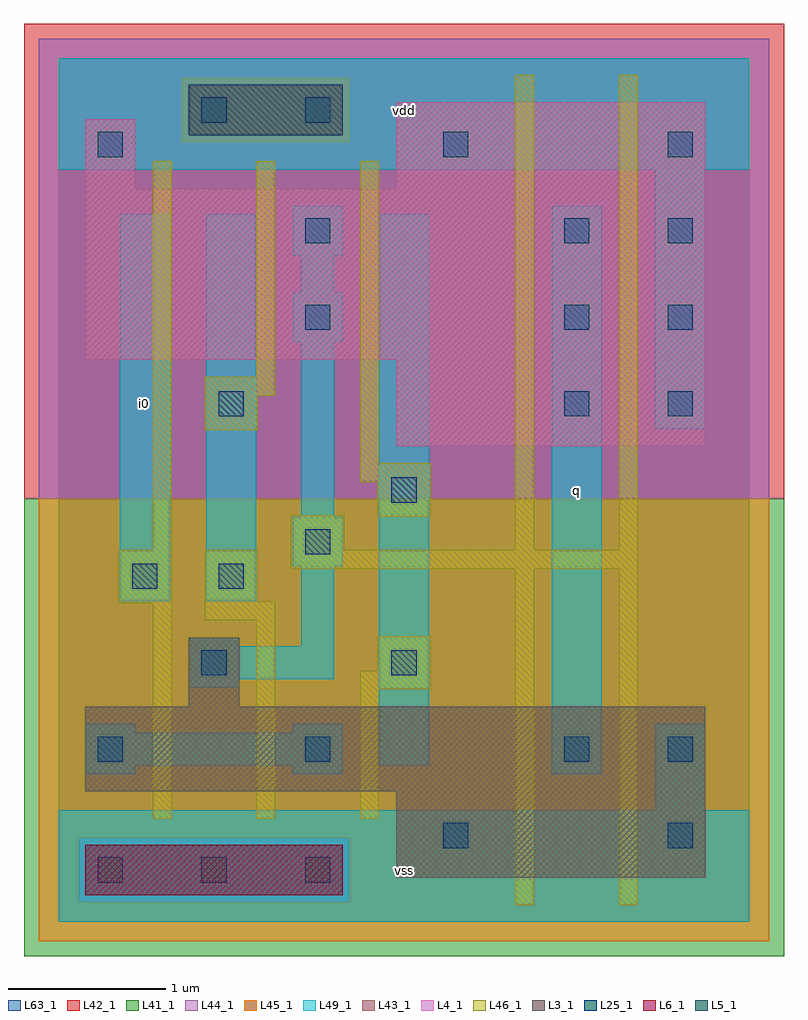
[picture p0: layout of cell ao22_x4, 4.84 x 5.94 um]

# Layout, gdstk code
import gdstk
lib = gdstk.Library(unit=1e-6, precision=1e-09)
def R(c, l, rs):  # rectangles x0, y0, x1, y1
    for r in rs: c.add(gdstk.rectangle(r[:2], r[2:], *l))
def A(c, l, x, y, w, h, nx, ny, dx, dy):  # array of equal rectangles
    R(c, l, [(x+i*dx, y+j*dy, x+i*dx+w, y+j*dy+h) for i in range(nx) for j in range(ny)])
L3_1 = (3, 1)
L4_1 = (4, 1)
L5_1 = (5, 1)
L6_1 = (6, 1)
L25_1 = (25, 1)
L41_1 = (41, 1)
L42_1 = (42, 1)
L43_1 = (43, 1)
L44_1 = (44, 1)
L45_1 = (45, 1)
L46_1 = (46, 1)
L49_1 = (49, 1)
L63_1 = (63, 1)

ao22_x4 = lib.new_cell('ao22_x4')
R(ao22_x4, L3_1, [(2.15,0.28,4.12,0.83), (0.17,0.83,4.12,1.37), (0.83,1.37,1.15,1.81)])
R(ao22_x4, L4_1, [(2.15,3.03,4.12,3.58), (0.17,3.58,4.12,4.67), (0.17,4.67,0.49,5.11), (2.15,4.67,4.12,5.22)])
R(ao22_x4, L5_1, [(0.83,5.01,1.81,5.33)])
R(ao22_x4, L6_1, [(0.17,0.17,1.81,0.49)])
A(ao22_x4, L25_1, 0.25, 0.25, 0.16, 0.16, 3, 1, 0.66, 0)
A(ao22_x4, L25_1, 3.22, 3.22, 0.16, 0.16, 1, 3, 0, 0.55)
A(ao22_x4, L25_1, 3.88, 3.22, 0.16, 0.16, 1, 4, 0, 0.55)
R(ao22_x4, L25_1, [(2.45,0.47,2.61,0.63), (3.88,0.47,4.04,0.63), (0.25,1.02,0.41,1.18), (1.57,1.02,1.73,1.18), (3.22,1.02,3.38,1.18), (3.88,1.02,4.04,1.18), (0.91,1.57,1.07,1.73), (2.12,1.57,2.28,1.73), (0.47,2.12,0.63,2.28), (1.02,2.12,1.18,2.28), (1.57,2.34,1.73,2.5), (2.12,2.67,2.28,2.83), (1.02,3.22,1.18,3.38), (1.57,3.77,1.73,3.93), (1.57,4.32,1.73,4.48), (0.25,4.87,0.41,5.03), (2.45,4.87,2.61,5.03), (0.91,5.09,1.07,5.25), (1.57,5.09,1.73,5.25)])
R(ao22_x4, L41_1, [(-0.22,-0.22,4.62,2.695)])
R(ao22_x4, L42_1, [(-0.22,2.695,4.62,5.72)])
R(ao22_x4, L43_1, [(0.17,0.17,1.81,0.49), (2.15,0.28,4.12,0.83), (0.17,0.83,4.12,1.37), (0.83,1.37,1.15,1.81), (2.15,3.03,4.12,3.58), (0.17,3.58,4.12,4.67), (0.17,4.67,0.49,5.11), (2.15,4.67,4.12,5.22), (0.83,5.01,1.81,5.33)])
R(ao22_x4, L44_1, [(0.125,0.125,1.855,0.535), (-0.125,2.695,4.525,4.965), (-0.125,4.965,0.785,5.375), (1.855,4.965,4.525,5.375), (-0.125,5.375,4.525,5.625)])
R(ao22_x4, L45_1, [(-0.125,-0.125,4.525,0.125), (-0.125,0.125,0.125,0.535), (1.855,0.125,4.525,0.535), (-0.125,0.535,4.525,2.695), (0.785,4.965,1.855,5.375)])
R(ao22_x4, L46_1, [(2.91,0.105,3.03,2.25), (3.57,0.105,3.69,2.25), (0.6,0.655,0.72,2.03), (1.26,0.655,1.38,1.92), (1.92,0.655,2.04,1.48), (1.92,1.48,2.37,1.6), (2.03,1.6,2.37,1.82), (0.93,1.92,1.38,2.04), (0.38,2.03,0.72,2.37), (0.93,2.04,1.27,2.37), (1.48,2.25,3.69,2.37), (0.6,2.37,0.72,4.845), (1.48,2.37,1.82,2.59), (2.91,2.37,3.03,5.395), (3.57,2.37,3.69,5.395), (2.03,2.58,2.37,2.8), (1.92,2.8,2.37,2.92), (1.92,2.92,2.04,4.845), (0.93,3.13,1.27,3.35), (0.93,3.35,1.38,3.47), (1.26,3.47,1.38,4.845)])
R(ao22_x4, L49_1, [(0,0,4.4,0.71), (3.8,0.71,4.12,1.26), (0.17,0.94,0.49,0.995), (1.49,0.94,1.81,0.995), (3.14,0.94,3.46,4.56), (0.17,0.995,1.81,1.205), (2.04,0.995,2.36,4.505), (0.17,1.205,0.49,1.26), (1.49,1.205,1.81,1.26), (0.83,1.49,1.15,1.545), (0.83,1.545,1.755,1.755), (0.83,1.755,1.15,1.81), (1.545,1.755,1.755,2.26), (0.39,2.04,0.71,4.505), (0.94,2.04,1.26,4.505), (1.49,2.26,1.81,2.58), (1.545,2.58,1.755,3.69), (3.8,3.14,4.12,4.79), (1.49,3.69,1.81,4.01), (1.545,4.01,1.755,4.24), (1.49,4.24,1.81,4.56), (0,4.79,4.4,5.5)])
R(ao22_x4, L63_1, [(0,0,4.4,5.5)])
ao22_x4.add(gdstk.Label('i0', (0.55,3.3), layer=49, texttype=1))
ao22_x4.add(gdstk.Label('i0', (0.55,3.3), layer=49, texttype=1))
ao22_x4.add(gdstk.Label('vss', (2.2,0.33), layer=49, texttype=1))
ao22_x4.add(gdstk.Label('vss', (2.2,0.33), layer=49, texttype=1))
ao22_x4.add(gdstk.Label('q', (3.3,2.75), layer=49, texttype=1))
ao22_x4.add(gdstk.Label('q', (3.3,2.75), layer=49, texttype=1))
ao22_x4.add(gdstk.Label('vdd', (2.2,5.17), layer=49, texttype=1))
ao22_x4.add(gdstk.Label('vdd', (2.2,5.17), layer=49, texttype=1))

lib.write_gds('ao22_x4.gds')
